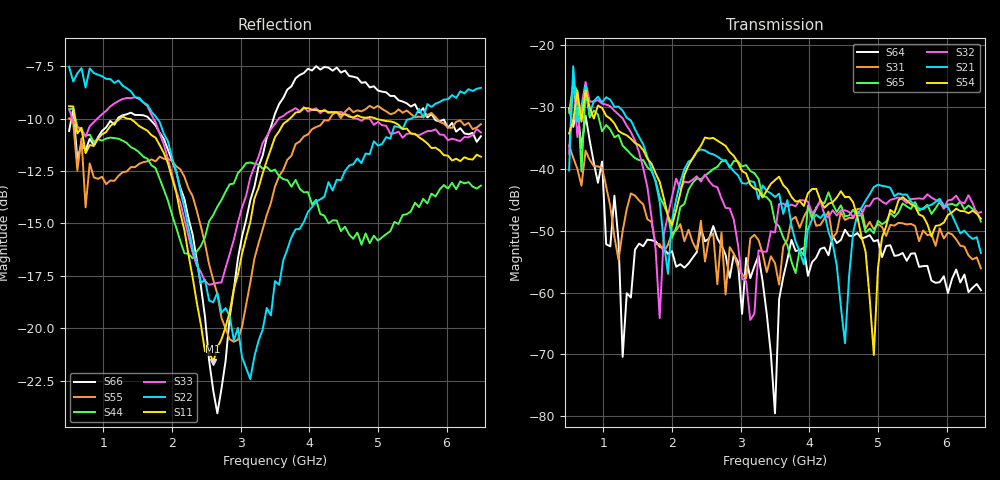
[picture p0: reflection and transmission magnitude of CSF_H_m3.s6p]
!Keysight Technologies,M9804A,MY58100912,A.14.10.03
!Date: Thursday, April 27, 2023 10:28:33
!Correction: S11(C  6-Port  )
!S12(C  6-Port  )
!S13(C  6-Port  )
!S14(C  6-Port  )
!S15(C  6-Port  )
!S16(C  6-Port  )
!S21(C  6-Port  )
!S22(C  6-Port  )
!S23(C  6-Port  )
!S24(C  6-Port  )
!S25(C  6-Port  )
!S26(C  6-Port  )
!S31(C  6-Port  )
!S32(C  6-Port  )
!S33(C  6-Port  )
!S34(C  6-Port  )
!S35(C  6-Port  )
!S36(C  6-Port  )
!S41(C  6-Port  )
!S42(C  6-Port  )
!S43(C  6-Port  )
!S44(C  6-Port  )
!S45(C  6-Port  )
!S46(C  6-Port  )
!S51(C  6-Port  )
!S52(C  6-Port  )
!S53(C  6-Port  )
!S54(C  6-Port  )
!S55(C  6-Port  )
!S56(C  6-Port  )
!S61(C  6-Port  )
!S62(C  6-Port  )
!S63(C  6-Port  )
!S64(C  6-Port  )
!S65(C  6-Port  )
!S66(C  6-Port  )
!S6P File: Measurement: :
# Hz S  RI  R 50
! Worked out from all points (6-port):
!   101 points, 500 MHz to 6.5 GHz, reference 50 ohm
!   strongest paths, dB at 500 MHz, 2 GHz, 3.5 GHz, 5 GHz, 6.5 GHz:
!     S54: -34.2, -49.1, -41.8, -56.0, -48.0
!     S21: -40.2, -48.2, -44.5, -42.5, -53.6
!     S32: -37.5, -44.5, -50.3, -44.7, -47.0
!     S65: -30.9, -51.1, -48.6, -48.4, -48.5
!     S31: -36.2, -50.3, -55.2, -48.9, -56.1
!     S64: -30.2, -53.3, -79.5, -51.5, -59.6
!   lowest |S11| = -21.6 dB at 2.6 GHz (marker M1), VSWR 1.18, Z = 42.6 + j2.04 ohm
!   |S11| at or under -10 dB: 587.2 MHz to 1.241 GHz (653.5 MHz wide, 71.5 % of centre); 1.358 GHz to 3.715 GHz (2.357 GHz wide, 92.9 % of centre); 4.974 GHz to end of sweep
